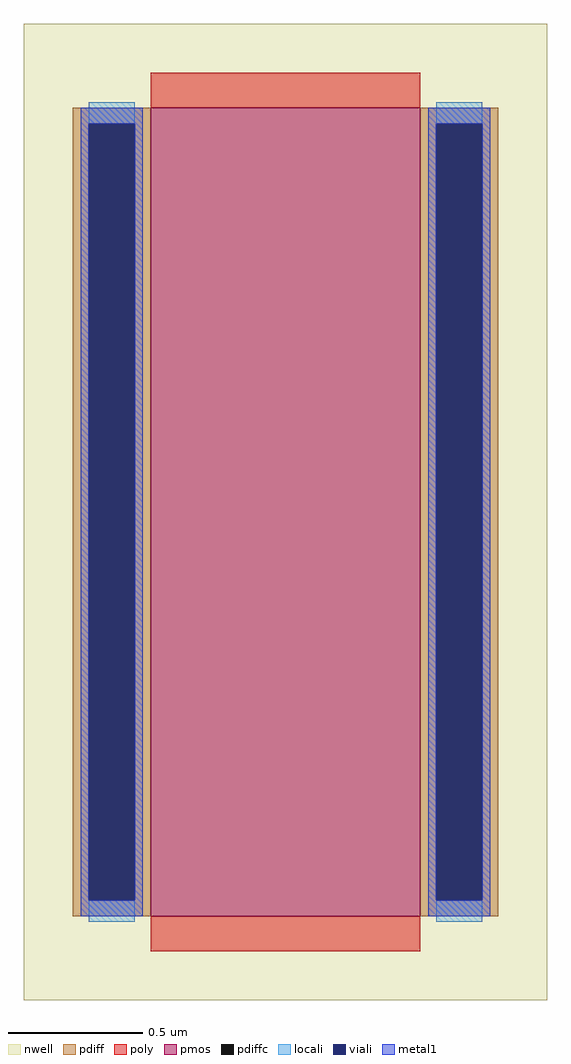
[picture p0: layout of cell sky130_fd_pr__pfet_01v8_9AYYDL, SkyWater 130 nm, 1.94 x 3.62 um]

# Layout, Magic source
magic
tech sky130A
<< nwell >>
rect -97 -181 97 181
<< pmos >>
rect -50 -150 50 150
<< pdiff >>
rect -79 144 -50 150
rect -79 -144 -73 144
rect -56 -144 -50 144
rect -79 -150 -50 -144
rect 50 144 79 150
rect 50 -144 56 144
rect 73 -144 79 144
rect 50 -150 79 -144
<< pdiffc >>
rect -73 -144 -56 144
rect 56 -144 73 144
<< poly >>
rect -50 150 50 163
rect -50 -163 50 -150
<< locali >>
rect -73 144 -56 152
rect -73 -152 -56 -144
rect 56 144 73 152
rect 56 -152 73 -144
<< viali >>
rect -73 -144 -56 144
rect 56 -144 73 144
<< metal1 >>
rect -76 144 -53 150
rect -76 -144 -73 144
rect -56 -144 -53 144
rect -76 -150 -53 -144
rect 53 144 76 150
rect 53 -144 56 144
rect 73 -144 76 144
rect 53 -150 76 -144
<< properties >>
string gencell sky130_fd_pr__pfet_01v8
string library sky130
string parameters w 3 l 1 m 1 nf 1 diffcov 100 polycov 100 guard 0 glc 1 grc 1 gtc 1 gbc 1 tbcov 100 rlcov 100 topc 0 botc 0 poverlap 0 doverlap 1 lmin 0.15 wmin 0.42 compatible {sky130_fd_pr__pfet_01v8  sky130_fd_pr__pfet_01v8_lvt sky130_fd_pr__pfet_01v8_hvt  sky130_fd_pr__pfet_g5v0d10v5} full_metal 0 viasrc 100 viadrn 100 viagate 0 viagb 0 viagr 0 viagl 0 viagt 0
<< end >>
